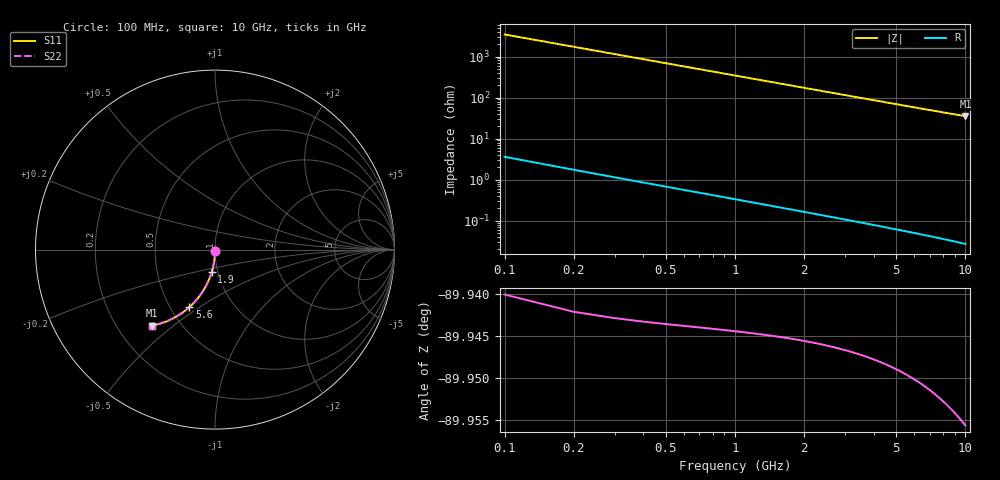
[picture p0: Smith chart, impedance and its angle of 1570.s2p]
# Hz S RI R 50.00
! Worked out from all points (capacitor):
!   100 points, 100 MHz to 10 GHz, reference 50 ohm
!   read as one part in shunt: C = 462 fF near 100 MHz
!   lowest |Z| = 35.1 ohm at 10 GHz (marker M1)
!   S11 on the Smith chart (normalised r, x): 100 MHz: 1.00, -0.01; 1.9 GHz: 0.93, -0.24; 5.6 GHz: 0.62, -0.45; 10 GHz: 0.35, -0.42
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1e8  0.00025 -0.00672  0.9996 -0.0078  0.9996 -0.0078  0.00025 -0.00672
2e8  8.77e-05 -0.0134  0.9995 -0.0156  0.9995 -0.0156  8.77e-05 -0.0134
3e8  -0.00018 -0.0202  0.9992 -0.0234  0.9992 -0.0234  -0.00018 -0.0202
4e8  -0.000552 -0.0269  0.9988 -0.0312  0.9988 -0.0312  -0.000552 -0.0269
5e8  -0.00103 -0.0336  0.9983 -0.0389  0.9983 -0.0389  -0.00103 -0.0336
6e8  -0.00161 -0.0403  0.9977 -0.0467  0.9977 -0.0467  -0.00161 -0.0403
7e8  -0.0023 -0.0469  0.997 -0.0545  0.997 -0.0545  -0.0023 -0.0469
8e8  -0.00309 -0.0536  0.9962 -0.0622  0.9962 -0.0622  -0.00309 -0.0536
9e8  -0.00398 -0.0603  0.9953 -0.0699  0.9953 -0.0699  -0.00398 -0.0603
1.1e9  -0.00607 -0.0735  0.9932 -0.0853  0.9932 -0.0853  -0.00607 -0.0735
1.4e9  -0.00996 -0.0931  0.9893 -0.1082  0.9893 -0.1082  -0.00996 -0.0931
1.8e9  -0.0165 -0.1189  0.9826 -0.1383  0.9826 -0.1383  -0.0165 -0.1189
1.9e9  -0.0184 -0.1253  0.9807 -0.1457  0.9807 -0.1457  -0.0184 -0.1253
2.2e9  -0.0246 -0.1441  0.9744 -0.1678  0.9744 -0.1678  -0.0246 -0.1441
2.6e9  -0.0342 -0.1686  0.9648 -0.1965  0.9648 -0.1965  -0.0342 -0.1686
3.4e9  -0.0573 -0.2149  0.9414 -0.2515  0.9414 -0.2515  -0.0573 -0.2149
4.2e9  -0.0851 -0.2572  0.9132 -0.3025  0.9132 -0.3025  -0.0851 -0.2572
5.1e9  -0.121 -0.2994  0.8768 -0.3544  0.8768 -0.3544  -0.121 -0.2994
5.6e9  -0.1426 -0.3202  0.8549 -0.3807  0.8549 -0.3807  -0.1426 -0.3202
6.7e9  -0.1929 -0.3591  0.8037 -0.4317  0.8037 -0.4317  -0.1929 -0.3591
8.4e9  -0.2746 -0.4013  0.7205 -0.4927  0.7205 -0.4927  -0.2746 -0.4013
1e10  -0.3509 -0.4231  0.6424 -0.5323  0.6424 -0.5323  -0.3509 -0.4231
